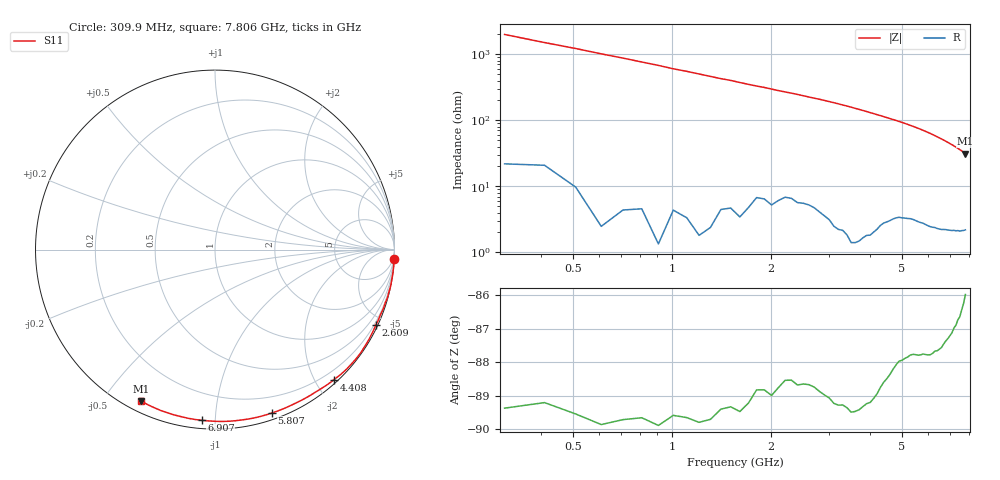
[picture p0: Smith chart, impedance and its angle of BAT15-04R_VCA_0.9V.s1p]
! Infineon Technologies  Discrete & RF Semiconductors
! BAT15-04R
! VCA = 0.9 V
! One-Port S-Parameters
# Hz  S  MA  R  50
!f  S11
!Hz  Mag  Ang
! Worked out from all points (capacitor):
!   76 points, 309.9 MHz to 7.806 GHz, reference 50 ohm
!   read as one part to ground: C = 258 fF near 309.9 MHz
!   lowest |Z| = 31.3 ohm at 7.806 GHz (marker M1)
!   S11 on the Smith chart (normalised r, x): 309.9 MHz: 0, -40; 2.609 GHz: 0.10, -4.50; 4.408 GHz: 0.06, -2.27; 5.807 GHz: 0.06, -1.41; 6.907 GHz: 0.04, -0.92; 7.806 GHz: 0.04, -0.62
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3.0985e8  0.9994 -2.9
9.0955e8  0.9997 -8.4
1.30935e9  0.9989 -12.4
1.6092e9  0.9976 -15.3
2.009e9  0.9943 -19.1
2.2089e9  0.9909 -21.1
2.6087e9  0.9902 -25.0
2.90855e9  0.9916 -28.1
3.2084e9  0.9935 -31.5
3.50825e9  0.9949 -35.1
3.70815e9  0.9938 -37.8
4.10795e9  0.989 -43.3
4.4078e9  0.9821 -47.6
4.70765e9  0.9757 -52.0
5.0075e9  0.9705 -56.6
5.30735e9  0.9666 -61.6
5.6072e9  0.9652 -67.0
5.8071e9  0.9637 -70.8
6.007e9  0.9634 -74.8
6.2069e9  0.962 -78.9
6.50675e9  0.9594 -85.4
6.70665e9  0.9566 -89.9
6.90655e9  0.954 -94.5
7.10645e9  0.9516 -99.1
7.30635e9  0.9488 -103.8
7.50625e9  0.9461 -108.7
7.70615e9  0.9418 -113.5
7.8061e9  0.939 -116.0
